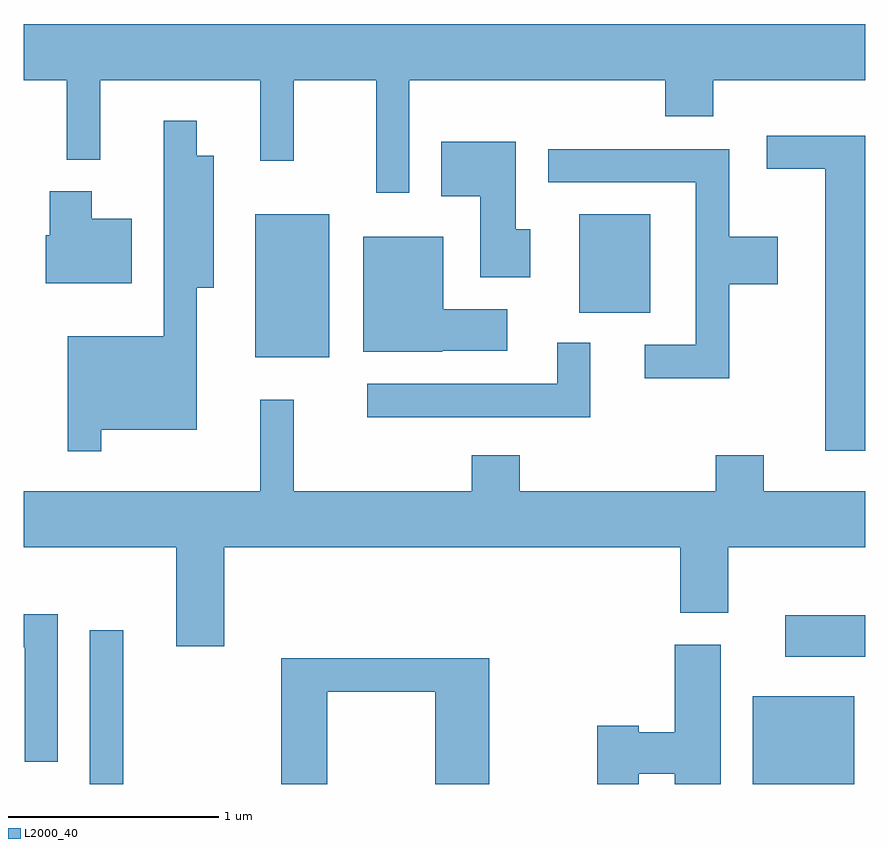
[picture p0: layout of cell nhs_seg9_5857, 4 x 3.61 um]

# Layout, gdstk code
import gdstk
lib = gdstk.Library(unit=1e-6, precision=1e-09)
def R(c, l, rs):  # rectangles x0, y0, x1, y1
    for r in rs: c.add(gdstk.rectangle(r[:2], r[2:], *l))
def P(c, l, *ps):  # polygons
    for p in ps: c.add(gdstk.Polygon(p, *l))
L2000_40 = (2000, 40)

nhs_seg9_5857 = lib.new_cell('nhs_seg9_5857')
R(nhs_seg9_5857, L2000_40, [(357.926,2028.432,358.084,2029.163), (361.076,2028.432,361.559,2028.849), (361.231,2029.036,361.611,2029.234), (358.711,2030.461,359.064,2031.139), (360.251,2030.671,360.589,2031.139)])
P(nhs_seg9_5857, L2000_40, [(359.444,2031.776),(360.661,2031.776),(360.661,2031.606),(360.889,2031.606),(360.889,2031.776),(361.611,2031.776),(361.611,2032.044),(357.611,2032.044),(357.611,2031.776),(357.816,2031.776),(357.816,2031.398),(357.974,2031.398),(357.974,2031.776),(358.736,2031.776),(358.736,2031.393),(358.894,2031.393),(358.894,2031.776),(359.286,2031.776),(359.286,2031.243),(359.444,2031.243)],
  [(357.979,2030.116),(358.434,2030.116),(358.434,2030.791),(358.514,2030.791),(358.514,2031.419),(358.434,2031.419),(358.434,2031.583),(358.276,2031.583),(358.276,2030.559),(357.821,2030.559),(357.821,2030.013),(357.979,2030.013)],
  [(361.611,2031.514),(361.143,2031.514),(361.143,2031.356),(361.421,2031.356),(361.421,2030.016),(361.611,2030.016)],
  [(360.019,2031.069),(359.949,2031.069),(359.949,2031.484),(359.596,2031.484),(359.596,2031.226),(359.781,2031.226),(359.781,2030.841),(360.019,2030.841)],
  [(360.964,2030.806),(361.194,2030.806),(361.194,2031.034),(360.964,2031.034),(360.964,2031.449),(360.103,2031.449),(360.103,2031.291),(360.806,2031.291),(360.806,2030.519),(360.563,2030.519),(360.563,2030.361),(360.964,2030.361)],
  [(358.124,2031.119),(357.934,2031.119),(357.934,2031.249),(357.736,2031.249),(357.736,2031.039),(357.716,2031.039),(357.716,2030.811),(358.124,2030.811)],
  [(359.6,2030.491),(359.909,2030.491),(359.909,2030.689),(359.604,2030.689),(359.604,2031.034),(359.226,2031.034),(359.226,2030.486),(359.6,2030.486)],
  [(360.304,2030.528),(360.146,2030.528),(360.146,2030.334),(359.243,2030.334),(359.243,2030.176),(360.304,2030.176)],
  [(358.564,2029.556),(360.731,2029.556),(360.731,2029.246),(360.959,2029.246),(360.959,2029.556),(361.611,2029.556),(361.611,2029.824),(361.129,2029.824),(361.129,2029.994),(360.901,2029.994),(360.901,2029.824),(359.969,2029.824),(359.969,2029.994),(359.741,2029.994),(359.741,2029.824),(358.894,2029.824),(358.894,2030.258),(358.736,2030.258),(358.736,2029.824),(357.611,2029.824),(357.611,2029.556),(358.336,2029.556),(358.336,2029.086),(358.564,2029.086)],
  [(357.774,2029.239),(357.611,2029.239),(357.611,2029.081),(357.616,2029.081),(357.616,2028.538),(357.774,2028.538)],
  [(360.534,2028.481),(360.706,2028.481),(360.706,2028.432),(360.924,2028.432),(360.924,2029.094),(360.706,2029.094),(360.706,2028.679),(360.534,2028.679),(360.534,2028.709),(360.336,2028.709),(360.336,2028.432),(360.534,2028.432)],
  [(359.054,2028.871),(359.566,2028.871),(359.566,2028.432),(359.824,2028.432),(359.824,2029.029),(358.836,2029.029),(358.836,2028.432),(359.054,2028.432)])

lib.write_gds('nhs_seg9_5857.gds')
